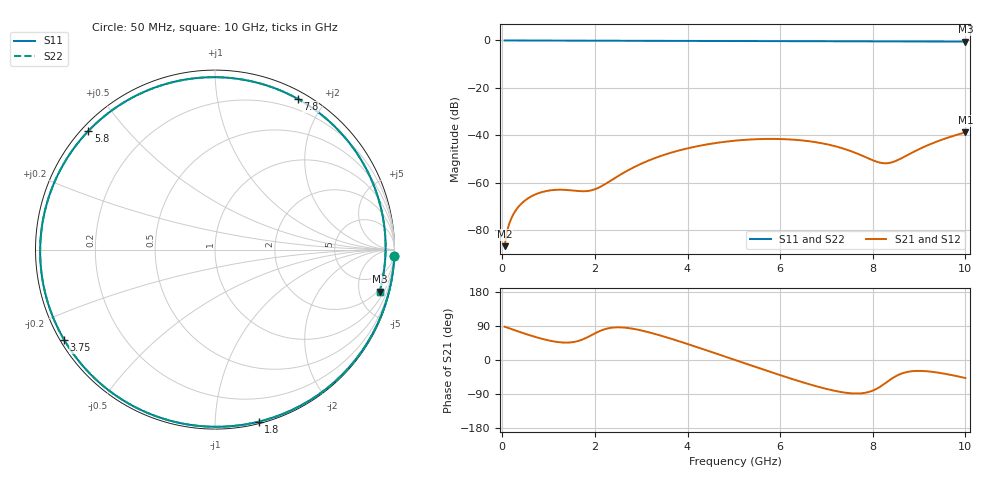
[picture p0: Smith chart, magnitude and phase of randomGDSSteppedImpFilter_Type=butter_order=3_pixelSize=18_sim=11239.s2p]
! freq	dB(S11)	phase(S11)	dB(S12)	phase(S12)
!  dB(S21)	phase(S21)	dB(S22)	phase(S22)
!S-par simulation data
#  GHz  S  DB  R 50
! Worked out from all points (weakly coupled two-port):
!   200 points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, 50 MHz to 10 GHz, reference 50 ohm
!   highest |S21| = -38.69 dB at 10 GHz (marker M1); lowest = -86.6 dB at 50 MHz (marker M2)
!   lowest |S11| = -0.5 dB at 10 GHz (marker M3), VSWR 36.41, Z = 83.6 - j378 ohm
!   |S11| at or under -10 dB: nowhere
!   |S22| runs from -0.5 to 0.0 dB; largest |S21 - S12| = 0
!   S11 on the Smith chart (normalised r, x): 50 MHz: 0, -52; 1.8 GHz: 0.01, -1.28; 3.75 GHz: 0.01, -0.28; 5.8 GHz: 0.02, +0.40; 7.8 GHz: 0.08, +1.68; 10 GHz: 1.67, -7.56
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0.05  -0.00 -2.2  -86.61 87.9  -86.61 87.9  -0.00 -2.2
0.1  -0.01 -4.4  -80.61 85.7  -80.61 85.7  -0.00 -4.4
0.2  -0.01 -8.8  -74.66 81.4  -74.66 81.4  -0.01 -8.7
0.35  -0.02 -15.3  -70.01 75.1  -70.01 75.1  -0.02 -15.3
0.65  -0.04 -28.1  -65.41 63.2  -65.41 63.2  -0.04 -28.1
1.1  -0.06 -47.2  -62.97 49.2  -62.97 49.2  -0.06 -47.2
1.75  -0.09 -73.8  -63.49 55.0  -63.49 55.0  -0.09 -73.8
1.8  -0.10 -75.8  -63.46 57.7  -63.46 57.7  -0.10 -75.8
2.1  -0.11 -87.6  -61.79 76.2  -61.79 76.2  -0.11 -87.6
2.55  -0.13 -104.9  -56.52 86.2  -56.52 86.2  -0.13 -104.9
3.4  -0.16 -136.4  -48.79 65.2  -48.79 65.2  -0.16 -136.4
3.75  -0.18 -149.1  -46.66 52.1  -46.66 52.1  -0.18 -149.1
4.4  -0.22 -172.4  -43.83 26.0  -43.83 26.0  -0.22 -172.3
5.05  -0.25 164.3  -42.14 -0.9  -42.14 -0.9  -0.25 164.3
5.8  -0.29 136.9  -41.45 -31.9  -41.45 -31.9  -0.29 136.9
6.7  -0.34 103.1  -42.63 -66.5  -42.63 -66.5  -0.34 103.1
7.25  -0.36 82.1  -44.86 -83.1  -44.86 -83.1  -0.36 82.1
7.8  -0.37 61.3  -48.75 -87.2  -48.75 -87.2  -0.37 61.3
8.15  -0.38 48.3  -51.42 -71.2  -51.42 -71.2  -0.38 48.3
8.35  -0.39 40.9  -51.59 -54.2  -51.59 -54.2  -0.39 40.9
9.15  -0.42 12.8  -44.43 -29.6  -44.43 -29.6  -0.42 12.8
10  -0.48 -14.4  -38.69 -47.7  -38.69 -47.7  -0.48 -14.4
